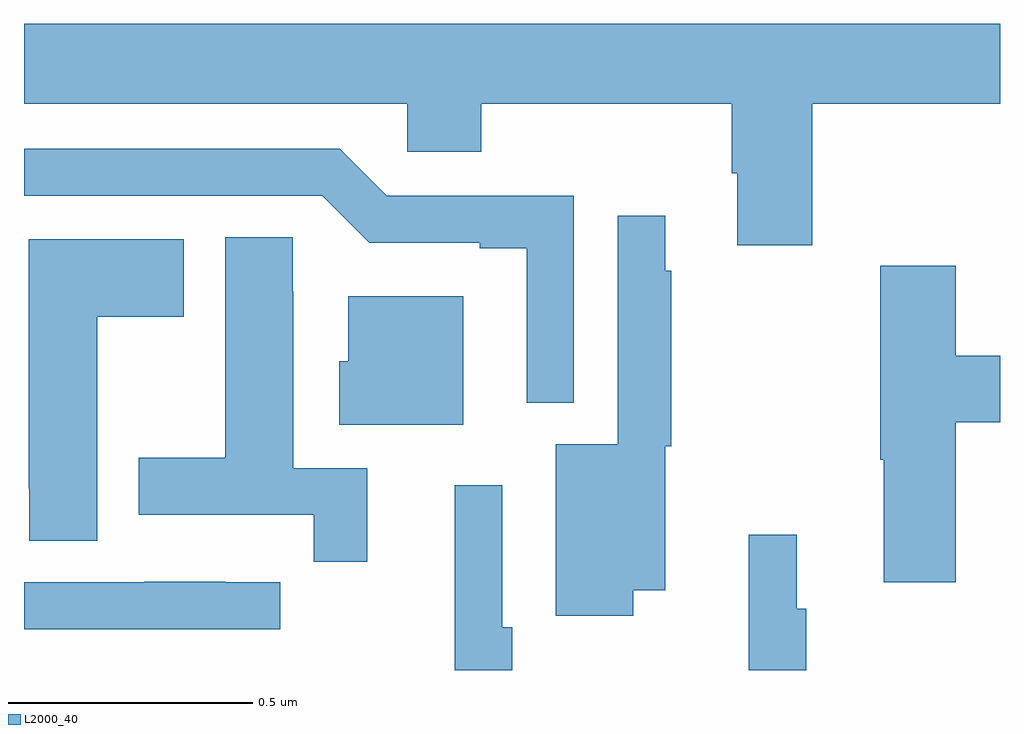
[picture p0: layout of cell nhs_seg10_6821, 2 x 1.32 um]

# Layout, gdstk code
import gdstk
lib = gdstk.Library(unit=1e-6, precision=1e-09)
def P(c, l, *ps):  # polygons
    for p in ps: c.add(gdstk.Polygon(p, *l))
L2000_40 = (2000, 40)

nhs_seg10_6821 = lib.new_cell('nhs_seg10_6821')
P(nhs_seg10_6821, L2000_40, [(197.615,1289.66),(198,1289.66),(198,1289.824),(196,1289.824),(196,1289.66),(196.785,1289.66),(196.785,1289.562),(196.937,1289.562),(196.937,1289.66),(197.45,1289.66),(197.45,1289.518),(197.462,1289.518),(197.462,1289.37),(197.615,1289.37)],
  [(197.127,1289.472),(196.743,1289.472),(196.647,1289.568),(196,1289.568),(196,1289.472),(196.611,1289.472),(196.707,1289.376),(196.934,1289.376),(196.934,1289.364),(197.03,1289.364),(197.03,1289.048),(197.127,1289.048)],
  [(197.248,1288.664),(197.314,1288.664),(197.314,1288.959),(197.326,1288.959),(197.326,1289.318),(197.314,1289.318),(197.314,1289.431),(197.217,1289.431),(197.217,1288.963),(197.09,1288.963),(197.09,1288.611),(197.248,1288.611)],
  [(196.703,1288.914),(196.552,1288.914),(196.552,1289.276),(196.551,1289.276),(196.551,1289.387),(196.412,1289.387),(196.412,1288.935),(196.235,1288.935),(196.235,1288.818),(196.594,1288.818),(196.594,1288.722),(196.703,1288.722)],
  [(196.15,1289.224),(196.327,1289.224),(196.327,1289.383),(196.01,1289.383),(196.01,1288.873),(196.011,1288.873),(196.011,1288.765),(196.15,1288.765)],
  [(197.909,1289.008),(198,1289.008),(198,1289.144),(197.909,1289.144),(197.909,1289.329),(197.755,1289.329),(197.755,1288.931),(197.762,1288.931),(197.762,1288.68),(197.909,1288.68)],
  [(196.9,1289.266),(196.664,1289.266),(196.664,1289.133),(196.646,1289.133),(196.646,1289.003),(196.9,1289.003)],
  [(197,1288.588),(196.98,1288.588),(196.98,1288.879),(196.883,1288.879),(196.883,1288.5),(197,1288.5)],
  [(197.603,1288.626),(197.584,1288.626),(197.584,1288.777),(197.485,1288.777),(197.485,1288.5),(197.603,1288.5)],
  [(196.525,1288.68),(196.412,1288.68),(196.412,1288.681),(196.246,1288.681),(196.246,1288.68),(196,1288.68),(196,1288.584),(196.525,1288.584)])

lib.write_gds('nhs_seg10_6821.gds')
